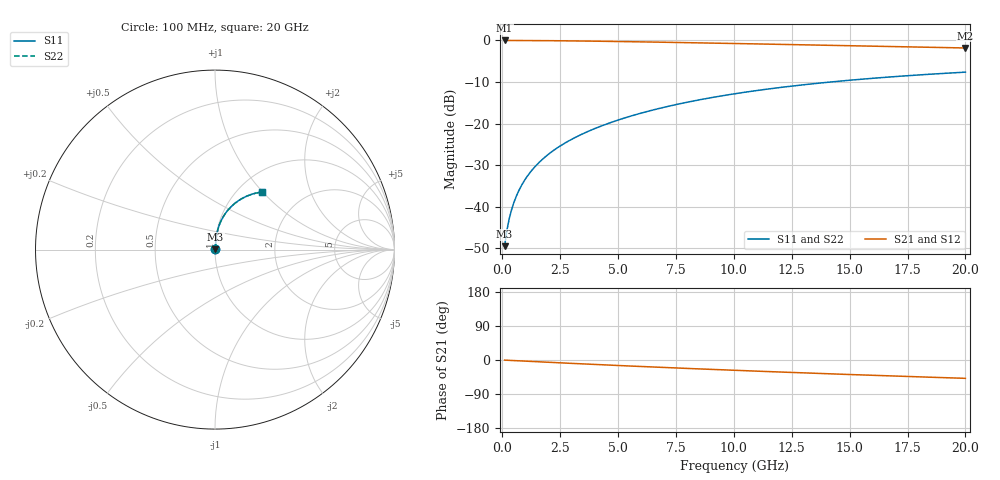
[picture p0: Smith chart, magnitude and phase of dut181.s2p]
! Touchstone file exported from HFSS 2024.1.0
!  File:  C:/UserFiles/LocalFiles/RDL_TSV_Batchsim/temp_RDL_top_181_1778686248.aedt
!  Generated:  11:33:05 PM May 13, 2026
!  Design:  RDL_top
!  Project:  temp_RDL_top_181_1778686248
!  Setup:  Setup1
!  Solution:  Sweep
! Variables:
!  dtsv = 10.80580581um
!  hbump = 3um
!  htsv = 69.61um
!  ldown = 100um
!  lrdl = 695.22um
!  p = 40
!  p1 = 55.83um
!  rhole = 1um
!  t = 450um
!  tdown = 3.915915916um
!  trdl = 4.79um
!  wdown = 15.38538539um
!  wrdl = 22.75um
# GHz S MA R 50.000000
! Terminal data exported
! Port[1] = Box2_T1
! Port[2] = Box2_T2
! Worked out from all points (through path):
!   200 points, 100 MHz to 20 GHz, reference 50 ohm
!   highest |S21| = -0.02 dB at 100 MHz (marker M1); lowest = -1.8 dB at 20 GHz (marker M2)
!   group delay of S21, straight-line fit = 6.66 ps
!   lowest |S11| = -49.5 dB at 100 MHz (marker M3), VSWR 1.01, Z = 50.2 + j0.233 ohm
!   |S11| at or under -10 dB: start of sweep to 14.19 GHz
!   |S22| runs from -49.5 to -7.6 dB; largest |S21 - S12| = 2.1e-14
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0.1  0.003359 43.7  0.9976 -0.3  0.9976 -0.3  0.003359 43.7
! Gamma 0 0 0 0
! Port Impedance 50 0 50 0
0.2  0.005217 60.3  0.9974 -0.6  0.9974 -0.6  0.005217 60.3
0.3  0.007194 67.7  0.9972 -0.9  0.9972 -0.9  0.007194 67.7
0.4  0.009199 72.0  0.997 -1.2  0.997 -1.2  0.009199 72.0
0.5  0.01123 74.9  0.9968 -1.5  0.9968 -1.5  0.01123 74.9
0.6  0.01327 76.9  0.9966 -1.8  0.9966 -1.8  0.01327 76.9
0.8  0.01741 79.6  0.9962 -2.4  0.9962 -2.4  0.01741 79.6
1.1  0.0237 81.8  0.9954 -3.3  0.9954 -3.3  0.0237 81.8
1.5  0.03218 83.2  0.994 -4.5  0.994 -4.5  0.03218 83.2
1.8  0.0386 83.7  0.9927 -5.4  0.9927 -5.4  0.0386 83.7
2.1  0.04507 84.0  0.9912 -6.3  0.9912 -6.3  0.04506 84.0
2.7  0.05815 84.2  0.9877 -8.1  0.9877 -8.1  0.05814 84.1
3.5  0.07591 83.8  0.9819 -10.4  0.9819 -10.4  0.07591 83.8
4.2  0.09176 83.1  0.9762 -12.3  0.9762 -12.3  0.09175 83.1
5  0.1102 82.1  0.9691 -14.5  0.9691 -14.5  0.1102 82.1
6.8  0.1525 79.0  0.9514 -19.2  0.9514 -19.2  0.1525 79.0
8.4  0.1903 75.8  0.9346 -23.3  0.9346 -23.3  0.1902 75.8
10.1  0.2295 72.0  0.9162 -27.4  0.9162 -27.4  0.2295 72.0
11.7  0.265 68.4  0.8988 -31.1  0.8988 -31.1  0.2649 68.4
13.4  0.3005 64.6  0.8802 -34.9  0.8802 -34.9  0.3004 64.5
16.7  0.3625 57.4  0.8444 -41.9  0.8444 -41.9  0.3624 57.3
20  0.4149 50.7  0.81 -48.4  0.81 -48.4  0.4147 50.6
